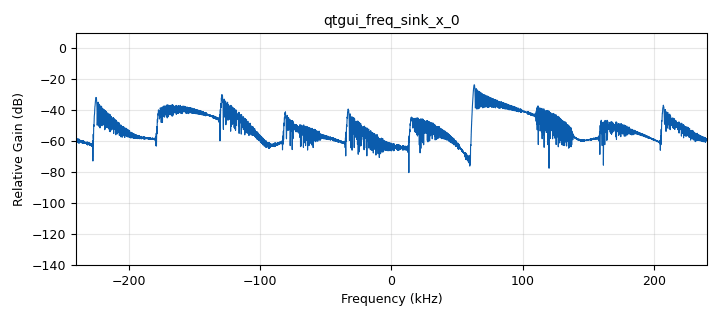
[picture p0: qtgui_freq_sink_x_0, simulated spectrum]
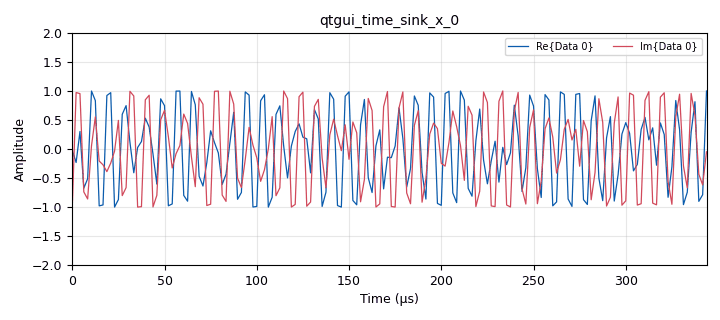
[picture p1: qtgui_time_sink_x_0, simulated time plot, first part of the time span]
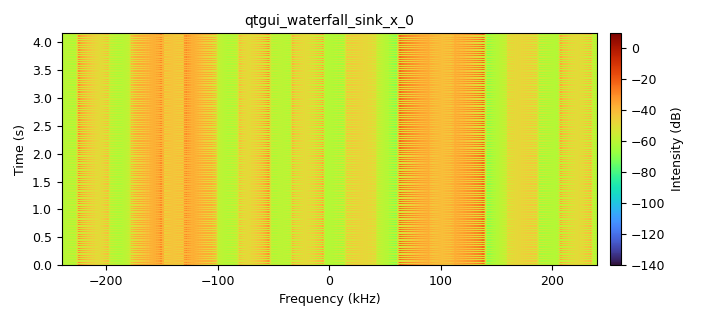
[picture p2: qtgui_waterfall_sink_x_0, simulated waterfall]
options:
  parameters:
    author: admin
    generate_options: qt_gui
    id: am
    output_language: python
    title: Not titled yet
  states: {}

blocks:
- name: mod_index
  id: variable_qtgui_range
  parameters:
    label: Глубина модуляции
    start: '0.0'
    step: '0.01'
    stop: '1.5'
    value: '0.5'
    widget: slider
  states: {}
- name: samp_rate
  id: variable
  parameters:
    value: '48000'
  states: {}
- name: analog_sig_source_x_0
  id: analog_sig_source_x
  parameters:
    amp: '1'
    freq: 100e3
    offset: '0'
    phase: '0'
    samp_rate: '480000'
    type: complex
    waveform: analog.GR_COS_WAVE
  states: {}
- name: analog_sig_source_x_0_0
  id: analog_sig_source_x
  parameters:
    amp: '1'
    freq: '600'
    offset: '0'
    phase: '0'
    samp_rate: '240000'
    type: float
    waveform: analog.GR_COS_WAVE
  states: {}
- name: analog_wfm_tx_0
  id: analog_wfm_tx
  parameters:
    audio_rate: '48000'
    fh: '-2.0'
    max_dev: 75e3
    quad_rate: '480000'
    tau: '75e-6'
  states: {}
- name: blocks_multiply_const_vxx_0
  id: blocks_multiply_const_vxx
  parameters:
    const: mod_index
    type: float
  states: {}
- name: blocks_multiply_xx_0
  id: blocks_multiply_xx
  parameters:
    type: complex
  states: {}
- name: qtgui_freq_sink_x_0
  id: qtgui_freq_sink_x
  parameters:
    bw: '480000'
    fc: '0'
    fftsize: '4096'
    type: complex
  states: {}
- name: qtgui_time_sink_x_0
  id: qtgui_time_sink_x
  parameters:
    size: '600'
    srate: '480000'
    type: complex
    update_time: '0.05'
    ymax: '2'
    ymin: '-2'
  states: {}
- name: qtgui_waterfall_sink_x_0
  id: qtgui_waterfall_sink_x
  parameters:
    bw: '480000'
    fc: '0'
    fftsize: '4096'
    type: complex
  states: {}

connections:
- [analog_sig_source_x_0, '0', blocks_multiply_xx_0, '1']
- [analog_sig_source_x_0_0, '0', blocks_multiply_const_vxx_0, '0']
- [analog_wfm_tx_0, '0', blocks_multiply_xx_0, '0']
- [blocks_multiply_const_vxx_0, '0', analog_wfm_tx_0, '0']
- [blocks_multiply_xx_0, '0', qtgui_freq_sink_x_0, '0']
- [blocks_multiply_xx_0, '0', qtgui_time_sink_x_0, '0']
- [blocks_multiply_xx_0, '0', qtgui_waterfall_sink_x_0, '0']

metadata:
  file_format: 1
  grc_version: 3.10.12.0
